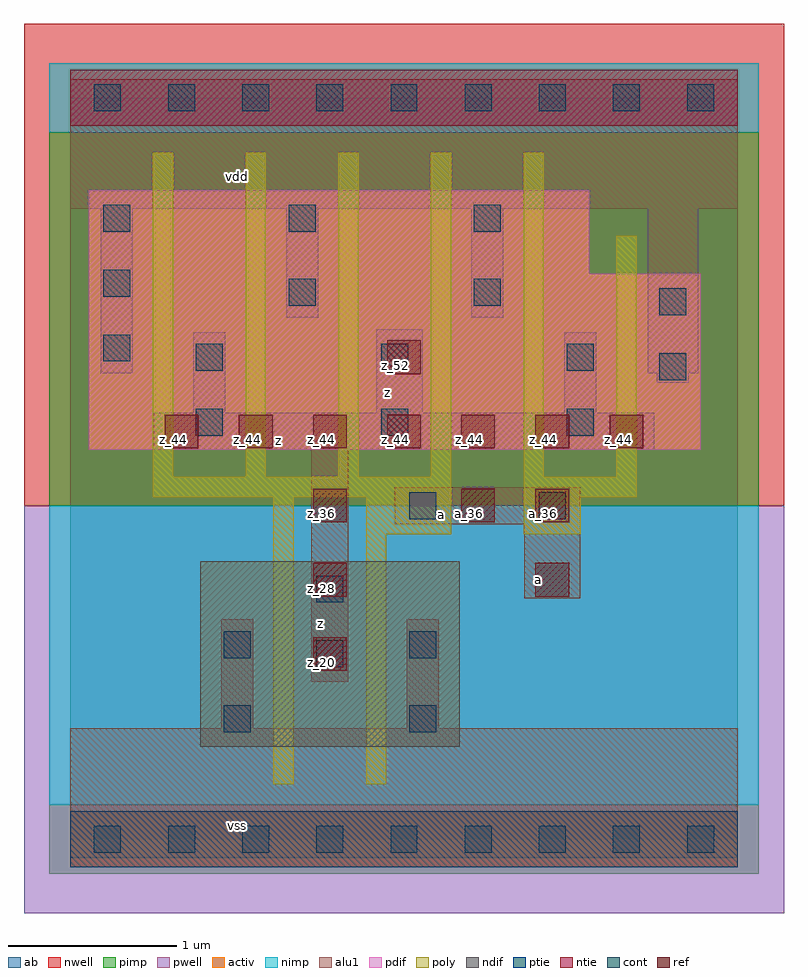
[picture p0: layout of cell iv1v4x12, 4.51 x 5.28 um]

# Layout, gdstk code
import gdstk
lib = gdstk.Library(unit=1e-6, precision=2.5e-09)
def R(c, l, rs):  # rectangles x0, y0, x1, y1
    for r in rs: c.add(gdstk.rectangle(r[:2], r[2:], *l))
def A(c, l, x, y, w, h, nx, ny, dx, dy):  # array of equal rectangles
    R(c, l, [(x+i*dx, y+j*dy, x+i*dx+w, y+j*dy+h) for i in range(nx) for j in range(ny)])
ndif = (3, 0)
pdif = (4, 0)
ntie = (5, 0)
ptie = (6, 0)
ref = (24, 0)
cont = (25, 0)
pwell = (41, 0)
nwell = (42, 0)
activ = (43, 0)
pimp = (44, 0)
nimp = (45, 0)
poly = (46, 0)
alu1 = (49, 0)
ab = (63, 0)

iv1v4x12 = lib.new_cell('iv1v4x12')
R(iv1v4x12, ndif, [(0.77,0.55,2.31,1.65)])
R(iv1v4x12, pdif, [(0.11,2.31,3.74,3.355), (0.11,3.355,3.08,3.85)])
R(iv1v4x12, ntie, [(0,4.235,3.96,4.565)])
R(iv1v4x12, ptie, [(0,-0.165,3.96,0.165)])
A(iv1v4x12, ref, 1.44, 1, 0.2, 0.2, 1, 3, 0, 0.44)
A(iv1v4x12, ref, 0.56, 2.32, 0.2, 0.2, 7, 1, 0.44, 0)
R(iv1v4x12, ref, [(2.76,1.44,2.96,1.64), (2.32,1.88,2.52,2.08), (2.76,1.88,2.96,2.08), (1.88,2.76,2.08,2.96)])
A(iv1v4x12, cont, 0.14, -0.08, 0.16, 0.16, 9, 2, 0.44, 4.4)
A(iv1v4x12, cont, 0.745, 2.395, 0.16, 0.16, 3, 2, 1.1, 0.385)
A(iv1v4x12, cont, 0.195, 3.605, 0.16, 0.16, 3, 1, 1.1, 0)
R(iv1v4x12, cont, [(0.91,0.635,1.07,0.795), (2.01,0.635,2.17,0.795), (1.46,1.02,1.62,1.18), (0.91,1.075,1.07,1.235), (2.01,1.075,2.17,1.235), (1.46,1.405,1.62,1.565), (2.01,1.9,2.17,2.06), (2.78,1.9,2.94,2.06), (3.495,2.725,3.655,2.885), (0.195,2.835,0.355,2.995), (3.495,3.11,3.655,3.27), (1.295,3.165,1.455,3.325), (2.395,3.165,2.555,3.325), (0.195,3.22,0.355,3.38)])
R(iv1v4x12, pwell, [(-0.275,-0.44,4.235,1.98)])
R(iv1v4x12, nwell, [(-0.275,1.98,4.235,4.84)])
R(iv1v4x12, activ, [(0,-0.165,3.96,0.165), (0.77,0.55,2.31,1.65), (0.11,2.31,3.74,3.355), (0.11,3.355,3.08,3.85), (0,4.235,3.96,4.565)])
R(iv1v4x12, pimp, [(-0.125,-0.205,4.085,0.205), (-0.125,1.98,4.085,4.195)])
R(iv1v4x12, nimp, [(-0.125,0.205,4.085,1.98), (-0.125,4.195,4.085,4.605)])
A(iv1v4x12, poly, 0.49, 2.15, 0.12, 1.925, 5, 1, 0.55, 0)
R(iv1v4x12, poly, [(1.205,0.325,1.325,2.03), (1.755,0.325,1.875,1.81), (1.755,1.81,2.26,2.03), (2.69,1.81,3.03,2.03), (0.49,2.03,2.26,2.15), (2.69,2.03,3.36,2.15), (3.24,2.15,3.36,3.58)])
R(iv1v4x12, alu1, [(0,-0.11,3.96,0.66), (0.895,0.66,1.085,1.305), (1.995,0.66,2.185,1.305), (1.43,0.935,1.65,2.31), (2.695,1.43,3.025,1.87), (1.925,1.87,3.025,2.09), (0.495,2.31,3.465,2.53), (0.73,2.53,0.92,3.01), (1.815,2.53,2.09,3.025), (2.93,2.53,3.12,3.01), (3.48,2.71,3.67,2.765), (0.18,2.765,0.37,3.74), (3.425,2.765,3.725,3.74), (1.28,3.095,1.47,3.74), (2.38,3.095,2.57,3.74), (0,3.74,3.96,4.51)])
R(iv1v4x12, ab, [(0,0,3.96,4.4)])
iv1v4x12.add(gdstk.Label('vss', (0.99,0.0825), layer=49, texttype=0))
iv1v4x12.add(gdstk.Label('a', (2.7775,1.54), layer=49, texttype=0))
iv1v4x12.add(gdstk.Label('a', (2.2,1.925), layer=49, texttype=0))
iv1v4x12.add(gdstk.Label('z', (1.485,1.2775), layer=49, texttype=0))
iv1v4x12.add(gdstk.Label('z', (1.2375,2.365), layer=49, texttype=0))
iv1v4x12.add(gdstk.Label('z', (1.8825,2.6525), layer=49, texttype=0))
iv1v4x12.add(gdstk.Label('vdd', (0.99,3.9325), layer=49, texttype=0))
iv1v4x12.add(gdstk.Label('z_44', (0.61,2.37), layer=24, texttype=0))
iv1v4x12.add(gdstk.Label('z_44', (1.05,2.37), layer=24, texttype=0))
iv1v4x12.add(gdstk.Label('z_20', (1.49,1.05), layer=24, texttype=0))
iv1v4x12.add(gdstk.Label('z_28', (1.49,1.49), layer=24, texttype=0))
iv1v4x12.add(gdstk.Label('z_36', (1.49,1.93), layer=24, texttype=0))
iv1v4x12.add(gdstk.Label('z_44', (1.49,2.37), layer=24, texttype=0))
iv1v4x12.add(gdstk.Label('z_44', (1.93,2.37), layer=24, texttype=0))
iv1v4x12.add(gdstk.Label('z_52', (1.93,2.81), layer=24, texttype=0))
iv1v4x12.add(gdstk.Label('a_36', (2.37,1.93), layer=24, texttype=0))
iv1v4x12.add(gdstk.Label('z_44', (2.37,2.37), layer=24, texttype=0))
iv1v4x12.add(gdstk.Label('a_28', (2.81,1.49), layer=24, texttype=0))
iv1v4x12.add(gdstk.Label('a_36', (2.81,1.93), layer=24, texttype=0))
iv1v4x12.add(gdstk.Label('z_44', (2.81,2.37), layer=24, texttype=0))
iv1v4x12.add(gdstk.Label('z_44', (3.25,2.37), layer=24, texttype=0))

lib.write_gds('iv1v4x12.gds')
